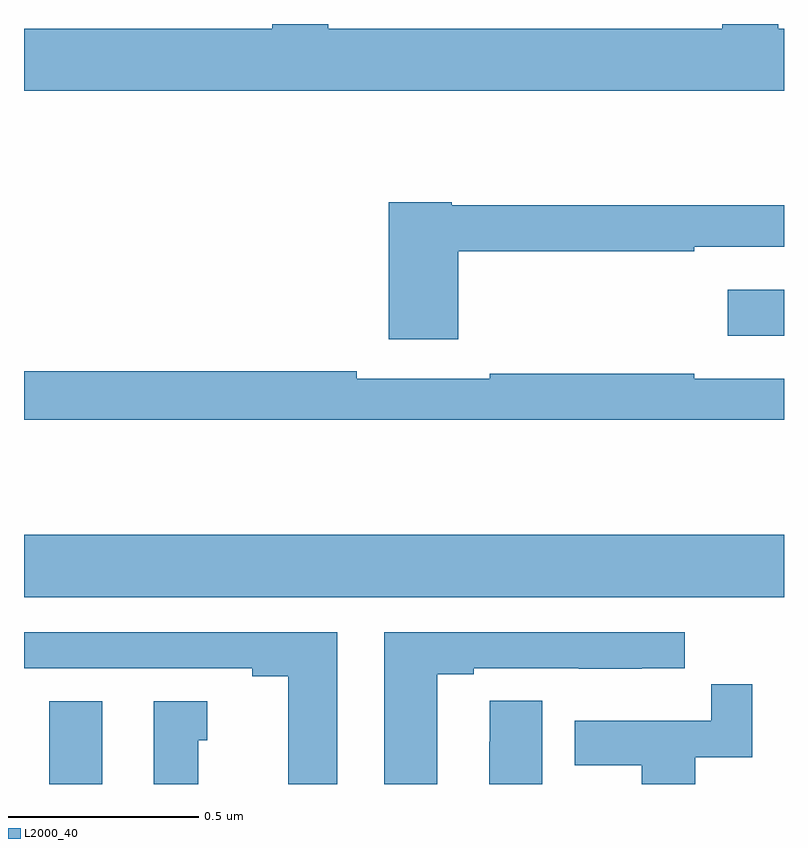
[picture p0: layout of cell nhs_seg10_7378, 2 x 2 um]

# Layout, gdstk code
import gdstk
lib = gdstk.Library(unit=1e-6, precision=1e-09)
def R(c, l, rs):  # rectangles x0, y0, x1, y1
    for r in rs: c.add(gdstk.rectangle(r[:2], r[2:], *l))
def P(c, l, *ps):  # polygons
    for p in ps: c.add(gdstk.Polygon(p, *l))
L2000_40 = (2000, 40)

nhs_seg10_7378 = lib.new_cell('nhs_seg10_7378')
R(nhs_seg10_7378, L2000_40, [(203.066,1290.5,203.206,1290.718), (203,1290.992,205,1291.156), (204.852,1291.679,205,1291.801)])
P(nhs_seg10_7378, L2000_40, [(205,1292.488),(204.985,1292.488),(204.985,1292.5),(204.838,1292.5),(204.838,1292.488),(203.8,1292.488),(203.8,1292.5),(203.653,1292.5),(203.653,1292.488),(203,1292.488),(203,1292.324),(205,1292.324)],
  [(204.143,1291.902),(204.764,1291.902),(204.764,1291.914),(205,1291.914),(205,1292.023),(204.126,1292.023),(204.126,1292.031),(203.96,1292.031),(203.96,1291.671),(204.143,1291.671)],
  [(205,1291.566),(204.764,1291.566),(204.764,1291.579),(204.226,1291.579),(204.226,1291.566),(203.876,1291.566),(203.876,1291.586),(203,1291.586),(203,1291.458),(205,1291.458)],
  [(204.088,1290.789),(204.184,1290.789),(204.184,1290.804),(204.46,1290.804),(204.46,1290.803),(204.626,1290.803),(204.626,1290.804),(204.739,1290.804),(204.739,1290.9),(203.948,1290.9),(203.948,1290.5),(204.088,1290.5)],
  [(203.824,1290.9),(203,1290.9),(203,1290.804),(203.6,1290.804),(203.6,1290.784),(203.696,1290.784),(203.696,1290.5),(203.824,1290.5)],
  [(204.766,1290.57),(204.917,1290.57),(204.917,1290.763),(204.808,1290.763),(204.808,1290.666),(204.449,1290.666),(204.449,1290.55),(204.626,1290.55),(204.626,1290.5),(204.766,1290.5)],
  [(204.364,1290.719),(204.225,1290.719),(204.225,1290.611),(204.224,1290.611),(204.224,1290.5),(204.364,1290.5)],
  [(203.458,1290.615),(203.482,1290.615),(203.482,1290.718),(203.342,1290.718),(203.342,1290.5),(203.458,1290.5)])

lib.write_gds('nhs_seg10_7378.gds')
